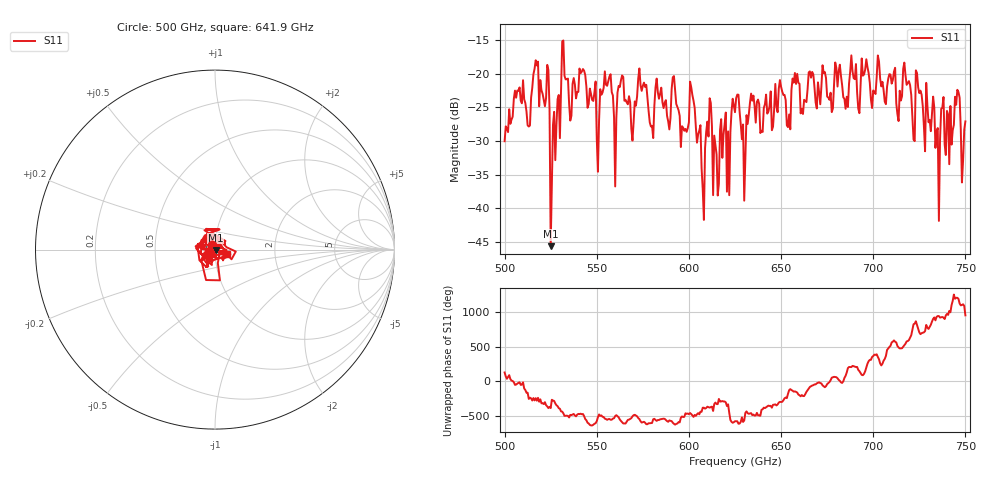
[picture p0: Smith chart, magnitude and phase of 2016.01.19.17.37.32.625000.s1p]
!Created with skrf (http://scikit-rf.org).
# GHz S RI R 50.0
!freq ReS11 ImS11
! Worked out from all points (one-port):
!   401 points, 500 GHz to 750 GHz, reference 50 ohm
!   lowest |S11| = -45.6 dB at 525 GHz (marker M1), VSWR 1.01, Z = 50.5 - j0.259 ohm
!   |S11| at or under -10 dB: start of sweep to end of sweep
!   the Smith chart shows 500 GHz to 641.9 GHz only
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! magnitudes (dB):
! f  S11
! 500 GHz  -30.0
! 506.9 GHz  -22.5
! 513.1 GHz  -27.8
! 516.9 GHz  -18.0
! 523.1 GHz  -18.7
! 525 GHz  -45.6
! 526.2 GHz  -27.6
! 531.2 GHz  -15.2
! 542.5 GHz  -19.3
! 551.2 GHz  -27.0
! 562.5 GHz  -22.0
! 570 GHz  -27.2
! 593.8 GHz  -25.0
! 596.9 GHz  -28.0
! 601.9 GHz  -23.2
! 608.1 GHz  -41.7
! 610.6 GHz  -29.3
! 614.4 GHz  -30.6
! 621.9 GHz  -38.1
! 625 GHz  -25.7
! 629.4 GHz  -27.5
! 634.4 GHz  -24.0
! 656.2 GHz  -20.7
! 687.5 GHz  -19.7
! 718.8 GHz  -21.4
! 735 GHz  -28.1
! 745.6 GHz  -22.4
! 750 GHz  -27.1
